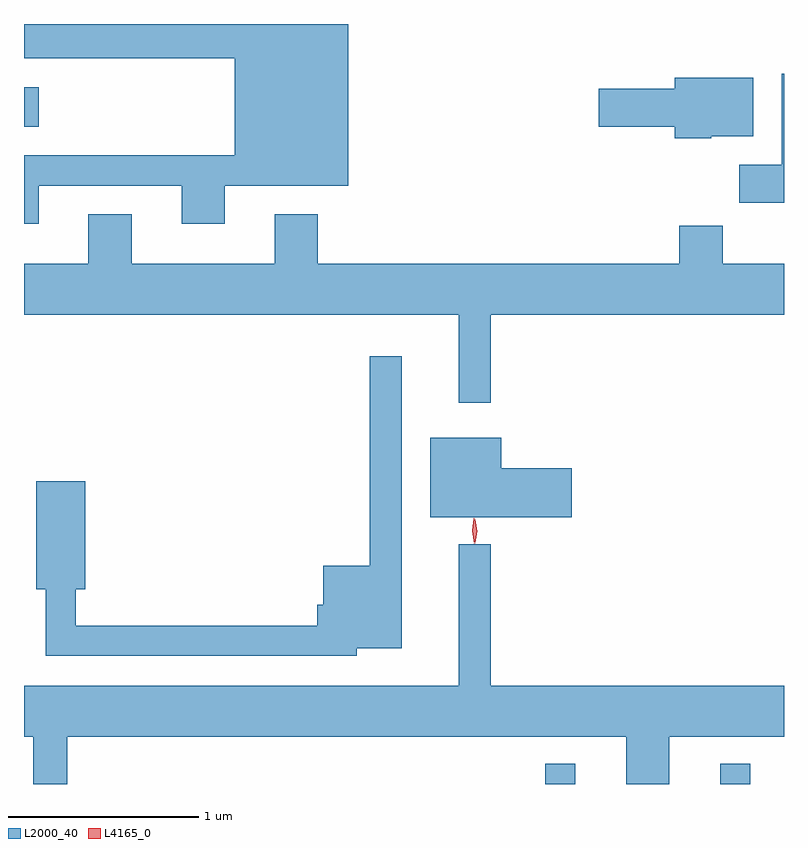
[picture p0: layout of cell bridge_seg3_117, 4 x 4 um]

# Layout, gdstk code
import gdstk
lib = gdstk.Library(unit=1e-6, precision=1e-09)
def R(c, l, rs):  # rectangles x0, y0, x1, y1
    for r in rs: c.add(gdstk.rectangle(r[:2], r[2:], *l))
def P(c, l, *ps):  # polygons
    for p in ps: c.add(gdstk.Polygon(p, *l))
L2000_40 = (2000, 40)
L4165_0 = (4165, 0)

bridge_seg3_117 = lib.new_cell('bridge_seg3_117')
R(bridge_seg3_117, L2000_40, [(1077.826,1194.586,1077.984,1194.693), (1078.746,1194.586,1078.904,1194.693), (1075.082,1198.046,1075.159,1198.254)])
P(bridge_seg3_117, L2000_40, [(1075.159,1197.736),(1075.911,1197.736),(1075.911,1197.536),(1076.139,1197.536),(1076.139,1197.736),(1076.789,1197.736),(1076.789,1198.586),(1075.082,1198.586),(1075.082,1198.406),(1076.191,1198.406),(1076.191,1197.894),(1075.082,1197.894),(1075.082,1197.536),(1075.159,1197.536)],
  [(1079.082,1198.324),(1079.071,1198.324),(1079.071,1197.844),(1078.846,1197.844),(1078.846,1197.646),(1079.082,1197.646)],
  [(1078.7,1197.996),(1078.919,1197.996),(1078.919,1198.304),(1078.506,1198.304),(1078.506,1198.244),(1078.106,1198.244),(1078.106,1198.046),(1078.506,1198.046),(1078.506,1197.986),(1078.7,1197.986)],
  [(1077.539,1197.056),(1079.082,1197.056),(1079.082,1197.324),(1078.759,1197.324),(1078.759,1197.524),(1078.531,1197.524),(1078.531,1197.324),(1076.629,1197.324),(1076.629,1197.584),(1076.401,1197.584),(1076.401,1197.324),(1075.649,1197.324),(1075.649,1197.584),(1075.421,1197.584),(1075.421,1197.324),(1075.082,1197.324),(1075.082,1197.056),(1077.371,1197.056),(1077.371,1196.593),(1077.539,1196.593)],
  [(1076.834,1195.301),(1077.069,1195.301),(1077.069,1196.838),(1076.901,1196.838),(1076.901,1195.734),(1076.656,1195.734),(1076.656,1195.529),(1076.626,1195.529),(1076.626,1195.419),(1075.354,1195.419),(1075.354,1195.611),(1075.404,1195.611),(1075.404,1196.179),(1075.146,1196.179),(1075.146,1195.611),(1075.196,1195.611),(1075.196,1195.261),(1076.834,1195.261)],
  [(1077.964,1196.249),(1077.594,1196.249),(1077.594,1196.409),(1077.221,1196.409),(1077.221,1195.991),(1077.964,1195.991)],
  [(1075.309,1194.836),(1078.251,1194.836),(1078.251,1194.586),(1078.479,1194.586),(1078.479,1194.836),(1079.082,1194.836),(1079.082,1195.104),(1077.539,1195.104),(1077.539,1195.848),(1077.371,1195.848),(1077.371,1195.104),(1075.082,1195.104),(1075.082,1194.836),(1075.131,1194.836),(1075.131,1194.586),(1075.309,1194.586)])
P(bridge_seg3_117, L4165_0, [(1077.451,1195.85),(1077.441,1195.918),(1077.45,1195.985),(1077.45,1195.986),(1077.451,1195.985),(1077.461,1195.918),(1077.452,1195.85),(1077.452,1195.85)],
  [(1077.457,1195.853),(1077.457,1195.853),(1077.447,1195.916),(1077.457,1195.979),(1077.457,1195.98),(1077.458,1195.979),(1077.467,1195.916),(1077.458,1195.853)])

lib.write_gds('bridge_seg3_117.gds')
